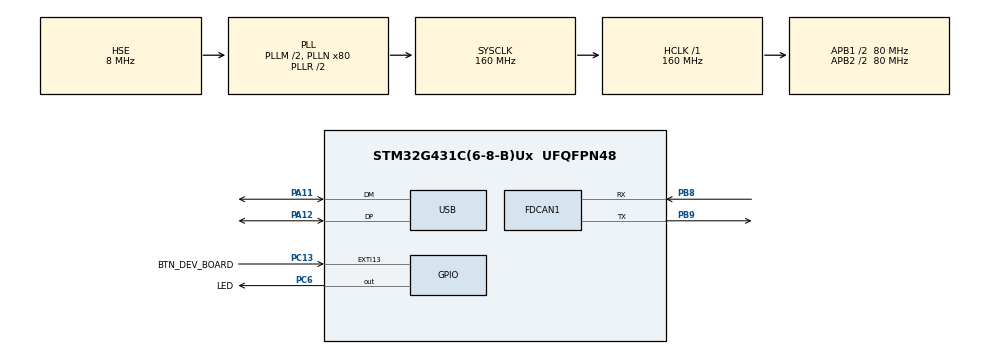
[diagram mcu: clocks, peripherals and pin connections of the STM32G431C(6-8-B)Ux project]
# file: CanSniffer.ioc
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FDCAN1.AutoRetransmission=ENABLE
FDCAN1.CalculateBaudRateNominal=1000000
FDCAN1.CalculateTimeBitNominal=1000
FDCAN1.CalculateTimeQuantumNominal=62.5
FDCAN1.DataPrescaler=2
FDCAN1.DataSyncJumpWidth=4
FDCAN1.DataTimeSeg1=15
FDCAN1.DataTimeSeg2=4
FDCAN1.FrameFormat=FDCAN_FRAME_FD_NO_BRS
FDCAN1.NominalPrescaler=5
FDCAN1.NominalSyncJumpWidth=3
FDCAN1.NominalTimeSeg1=12
FDCAN1.NominalTimeSeg2=3
Mcu.Family=STM32G4
Mcu.Name=STM32G431C(6-8-B)Ux
Mcu.Package=UFQFPN48
NVIC.PriorityGroup=NVIC_PRIORITYGROUP_4
NVIC.USB_LP_IRQn=true\:0\:0\:false\:false\:true\:false\:true\:true
PA11.Mode=Device
PA11.Signal=USB_DM
PA12.Mode=Device
PA12.Signal=USB_DP
PA13.Mode=Serial_Wire
PA13.Signal=SYS_JTMS-SWDIO
PA14.Mode=Serial_Wire
PA14.Signal=SYS_JTCK-SWCLK
PB8-BOOT0.Mode=FDCAN_Activate
PB8-BOOT0.Signal=FDCAN1_RX
PB9.Mode=FDCAN_Activate
PB9.Signal=FDCAN1_TX
PC13.GPIO_Label=BTN_DEV_BOARD
PC13.GPIO_ModeDefaultEXTI=GPIO_MODE_IT_RISING_FALLING
PC13.GPIO_PuPd=GPIO_PULLDOWN
PC13.Signal=GPXTI13
PC14-OSC32_IN.Mode=LSE-External-Oscillator
PC14-OSC32_IN.Signal=RCC_OSC32_IN
PC15-OSC32_OUT.Mode=LSE-External-Oscillator
PC15-OSC32_OUT.Signal=RCC_OSC32_OUT
PC6.GPIO_Label=LED
PC6.Signal=GPIO_Output
PF0-OSC_IN.Mode=HSE-External-Oscillator
PF0-OSC_IN.Signal=RCC_OSC_IN
PF1-OSC_OUT.Mode=HSE-External-Oscillator
PF1-OSC_OUT.Signal=RCC_OSC_OUT
ProjectManager.HeapSize=0x200
ProjectManager.StackSize=0x400
ProjectManager.TargetToolchain=CMake
RCC.ADC12Freq_Value=160000000
RCC.AHBFreq_Value=160000000
RCC.APB1CLKDivider=RCC_HCLK_DIV2
RCC.APB1Freq_Value=80000000
RCC.APB1TimFreq_Value=160000000
RCC.APB2CLKDivider=RCC_HCLK_DIV2
RCC.APB2Freq_Value=80000000
RCC.APB2TimFreq_Value=160000000
RCC.CK48CLockSelection=RCC_USBCLKSOURCE_HSI48
RCC.CortexFreq_Value=160000000
RCC.EXTERNAL_CLOCK_VALUE=12288000
RCC.FDCANCLockSelection=RCC_FDCANCLKSOURCE_PLL
RCC.HCLKFreq_Value=160000000
RCC.HSE_VALUE=8000000
RCC.HSI48_VALUE=48000000
RCC.HSI_VALUE=16000000
RCC.PLLM=RCC_PLLM_DIV2
RCC.PLLN=80
RCC.PLLQ=RCC_PLLQ_DIV4
RCC.PLLSourceVirtual=RCC_PLLSOURCE_HSE
RCC.SYSCLKFreq_VALUE=160000000
RCC.SYSCLKSource=RCC_SYSCLKSOURCE_PLLCLK
RCC.USBFreq_Value=48000000
RCC.VCOOutputFreq_Value=320000000
USB_DEVICE.CLASS_NAME_FS=CDC
USB_DEVICE.VirtualMode=Cdc
USB_DEVICE.VirtualModeFS=Cdc_FS
VP_CRC_VS_CRC.Mode=CRC_Activate
VP_RCC_VS_USB.Mode=USB_FS
VP_SYS_VS_DBSignals.Mode=DisableDeadBatterySignals
VP_USB_DEVICE_VS_USB_DEVICE_CDC_FS.Mode=CDC_FS
board=custom

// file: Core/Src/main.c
/* USER CODE BEGIN Header */
/**
  ******************************************************************************
  * @file           : main.c
  * @brief          : Main program body
  ******************************************************************************
  * @attention
  *
  * Copyright (c) 2026 STMicroelectronics.
  * All rights reserved.
  *
  * This software is licensed under terms that can be found in the LICENSE file
  * in the root directory of this software component.
  * If no LICENSE file comes with this software, it is provided AS-IS.
  *
  ******************************************************************************
  */
/* USER CODE END Header */
#include "main.h"
#include "usb_device.h"

/* USER CODE BEGIN Includes */
#include "cs_can_rx.h"
#include "cs_gvret.h"
#include "cs_led.h"
/* USER CODE END Includes */

CRC_HandleTypeDef hcrc;

FDCAN_HandleTypeDef hfdcan1;

void SystemClock_Config(void);
static void MX_GPIO_Init(void);
static void MX_FDCAN1_Init(void);
static void MX_CRC_Init(void);

int main(void)
{

  /* MCU Configuration--------------------------------------------------------*/

  /* Reset of all peripherals, Initializes the Flash interface and the Systick. */
  HAL_Init();

  /* Configure the system clock */
  SystemClock_Config();

  /* Initialize all configured peripherals */
  MX_GPIO_Init();
  MX_FDCAN1_Init();
  MX_CRC_Init();
  MX_USB_Device_Init();
  /* USER CODE BEGIN 2 */
  cs_led_init();
  cs_led_startup_blink();
  cs_can_rx_init();
  /* USER CODE END 2 */

  /* Infinite loop */
  while (1)
  {

    /* USER CODE BEGIN 3 */
    cs_can_rx_process();
    cs_gvret_process();
    cs_led_process();
  }
  /* USER CODE END 3 */
}

void SystemClock_Config(void)
{
  RCC_OscInitTypeDef RCC_OscInitStruct = {0};
  RCC_ClkInitTypeDef RCC_ClkInitStruct = {0};
  RCC_CRSInitTypeDef pInit = {0};

  /** Configure the main internal regulator output voltage
  */
  HAL_PWREx_ControlVoltageScaling(PWR_REGULATOR_VOLTAGE_SCALE1_BOOST);

  /** Initializes the RCC Oscillators according to the specified parameters
  * in the RCC_OscInitTypeDef structure.
  */
  RCC_OscInitStruct.OscillatorType = RCC_OSCILLATORTYPE_HSI48|RCC_OSCILLATORTYPE_HSE;
  RCC_OscInitStruct.HSEState = RCC_HSE_ON;
  RCC_OscInitStruct.HSI48State = RCC_HSI48_ON;
  RCC_OscInitStruct.PLL.PLLState = RCC_PLL_ON;
  RCC_OscInitStruct.PLL.PLLSource = RCC_PLLSOURCE_HSE;
  RCC_OscInitStruct.PLL.PLLM = RCC_PLLM_DIV2;
  RCC_OscInitStruct.PLL.PLLN = 80;
  RCC_OscInitStruct.PLL.PLLP = RCC_PLLP_DIV2;
  RCC_OscInitStruct.PLL.PLLQ = RCC_PLLQ_DIV2;
  RCC_OscInitStruct.PLL.PLLR = RCC_PLLR_DIV2;
  if (HAL_RCC_OscConfig(&RCC_OscInitStruct) != HAL_OK)
  {
    Error_Handler();
  }

  /** Initializes the CPU, AHB and APB buses clocks
  */
  RCC_ClkInitStruct.ClockType = RCC_CLOCKTYPE_HCLK|RCC_CLOCKTYPE_SYSCLK
                              |RCC_CLOCKTYPE_PCLK1|RCC_CLOCKTYPE_PCLK2;
  RCC_ClkInitStruct.SYSCLKSource = RCC_SYSCLKSOURCE_PLLCLK;
  RCC_ClkInitStruct.AHBCLKDivider = RCC_SYSCLK_DIV1;
  RCC_ClkInitStruct.APB1CLKDivider = RCC_HCLK_DIV2;
  RCC_ClkInitStruct.APB2CLKDivider = RCC_HCLK_DIV2;

  if (HAL_RCC_ClockConfig(&RCC_ClkInitStruct, FLASH_LATENCY_4) != HAL_OK)
  {
    Error_Handler();
  }

  /** Enable the SYSCFG APB clock
  */
  __HAL_RCC_CRS_CLK_ENABLE();

  /** Configures CRS
  */
  pInit.Prescaler = RCC_CRS_SYNC_DIV1;
  pInit.Source = RCC_CRS_SYNC_SOURCE_USB;
  pInit.Polarity = RCC_CRS_SYNC_POLARITY_RISING;
  pInit.ReloadValue = __HAL_RCC_CRS_RELOADVALUE_CALCULATE(48000000,1000);
  pInit.ErrorLimitValue = 34;
  pInit.HSI48CalibrationValue = 32;

  HAL_RCCEx_CRSConfig(&pInit);
}

static void MX_CRC_Init(void)
{

  hcrc.Instance = CRC;
  hcrc.Init.DefaultPolynomialUse = DEFAULT_POLYNOMIAL_ENABLE;
  hcrc.Init.DefaultInitValueUse = DEFAULT_INIT_VALUE_ENABLE;
  hcrc.Init.InputDataInversionMode = CRC_INPUTDATA_INVERSION_NONE;
  hcrc.Init.OutputDataInversionMode = CRC_OUTPUTDATA_INVERSION_DISABLE;
  hcrc.InputDataFormat = CRC_INPUTDATA_FORMAT_BYTES;
  if (HAL_CRC_Init(&hcrc) != HAL_OK)
  {
    Error_Handler();
  }

}

static void MX_FDCAN1_Init(void)
{

  hfdcan1.Instance = FDCAN1;
  hfdcan1.Init.ClockDivider = FDCAN_CLOCK_DIV1;
  hfdcan1.Init.FrameFormat = FDCAN_FRAME_FD_NO_BRS;
  hfdcan1.Init.Mode = FDCAN_MODE_NORMAL;
  hfdcan1.Init.AutoRetransmission = ENABLE;
  hfdcan1.Init.TransmitPause = DISABLE;
  hfdcan1.Init.ProtocolException = DISABLE;
  hfdcan1.Init.NominalPrescaler = 5;
  hfdcan1.Init.NominalSyncJumpWidth = 3;
  hfdcan1.Init.NominalTimeSeg1 = 12;
  hfdcan1.Init.NominalTimeSeg2 = 3;
  hfdcan1.Init.DataPrescaler = 2;
  hfdcan1.Init.DataSyncJumpWidth = 4;
  hfdcan1.Init.DataTimeSeg1 = 15;
  hfdcan1.Init.DataTimeSeg2 = 4;
  hfdcan1.Init.StdFiltersNbr = 0;
  hfdcan1.Init.ExtFiltersNbr = 0;
  hfdcan1.Init.TxFifoQueueMode = FDCAN_TX_FIFO_OPERATION;
  if (HAL_FDCAN_Init(&hfdcan1) != HAL_OK)
  {
    Error_Handler();
  }
  /* USER CODE BEGIN FDCAN1_Init 2 */
  /* CubeMX generates FD_NO_BRS and wrong timing; override in user code so
   * the settings survive IOC regeneration.
   * FDCAN clock = 160 MHz (PLLQ, DIV1).
   * Nominal 1 Mbit/s : Prescaler=1, Seg1=119, Seg2=40, SJW=40 → 160 TQ, 75% SP
   * Data    2 Mbit/s : Prescaler=2, Seg1=31,  Seg2=8,  SJW=8  →  80 TQ, 80% SP */
  hfdcan1.Init.FrameFormat           = FDCAN_FRAME_FD_BRS;
  hfdcan1.Init.Mode                  = FDCAN_MODE_NORMAL; /* NORMAL required to transmit frames from SavvyCAN */
  hfdcan1.Init.NominalPrescaler      = 1U;
  hfdcan1.Init.NominalTimeSeg1       = 119U;
  hfdcan1.Init.NominalTimeSeg2       = 40U;
  hfdcan1.Init.NominalSyncJumpWidth  = 40U;
  hfdcan1.Init.DataPrescaler         = 2U;
  hfdcan1.Init.DataTimeSeg1          = 31U;
  hfdcan1.Init.DataTimeSeg2          = 8U;
  hfdcan1.Init.DataSyncJumpWidth     = 8U;
  if (HAL_FDCAN_Init(&hfdcan1) != HAL_OK)
  {
    Error_Handler();
  }
  /* USER CODE END FDCAN1_Init 2 */

}

static void MX_GPIO_Init(void)
{
  GPIO_InitTypeDef GPIO_InitStruct = {0};

  /* GPIO Ports Clock Enable */
  __HAL_RCC_GPIOC_CLK_ENABLE();
  __HAL_RCC_GPIOF_CLK_ENABLE();
  __HAL_RCC_GPIOA_CLK_ENABLE();
  __HAL_RCC_GPIOB_CLK_ENABLE();

  /*Configure GPIO pin Output Level */
  HAL_GPIO_WritePin(LED_GPIO_Port, LED_Pin, GPIO_PIN_RESET);

  /*Configure GPIO pin : BTN_DEV_BOARD_Pin */
  GPIO_InitStruct.Pin = BTN_DEV_BOARD_Pin;
  GPIO_InitStruct.Mode = GPIO_MODE_IT_RISING_FALLING;
  GPIO_InitStruct.Pull = GPIO_PULLDOWN;
  HAL_GPIO_Init(BTN_DEV_BOARD_GPIO_Port, &GPIO_InitStruct);

  /*Configure GPIO pin : LED_Pin */
  GPIO_InitStruct.Pin = LED_Pin;
  GPIO_InitStruct.Mode = GPIO_MODE_OUTPUT_PP;
  GPIO_InitStruct.Pull = GPIO_NOPULL;
  GPIO_InitStruct.Speed = GPIO_SPEED_FREQ_LOW;
  HAL_GPIO_Init(LED_GPIO_Port, &GPIO_InitStruct);

}

void Error_Handler(void)
{
  __disable_irq();
  while (1)
  {
  }
}
